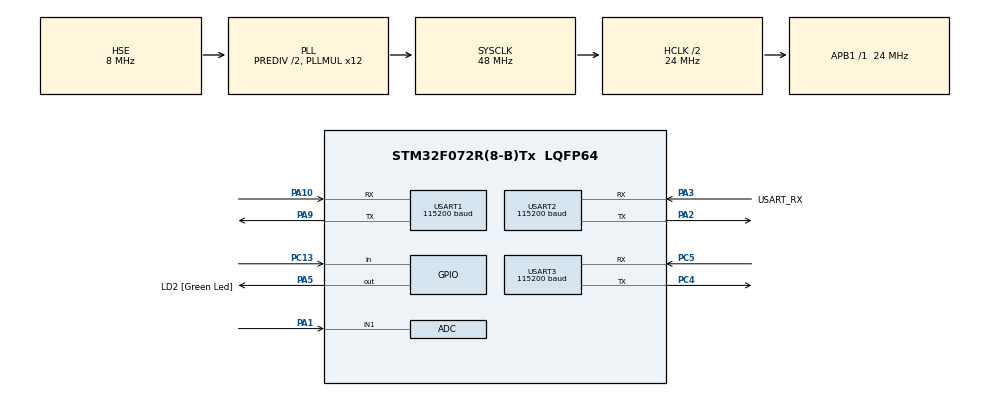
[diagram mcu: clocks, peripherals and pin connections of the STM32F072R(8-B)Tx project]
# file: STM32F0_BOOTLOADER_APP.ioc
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ADC.ContinuousConvMode=ENABLE
Mcu.Family=STM32F0
Mcu.Name=STM32F072R(8-B)Tx
Mcu.Package=LQFP64
PA1.Mode=IN1
PA1.Signal=ADC_IN1
PA10.Mode=Asynchronous
PA10.Signal=USART1_RX
PA13.GPIO_Label=TMS
PA13.Mode=Serial_Wire
PA13.Signal=SYS_SWDIO
PA14.GPIO_Label=TCK
PA14.Mode=Serial_Wire
PA14.Signal=SYS_SWCLK
PA2.Mode=Asynchronous
PA2.Signal=USART2_TX
PA3.GPIO_Label=USART_RX
PA3.GPIO_Mode=GPIO_MODE_AF_PP
PA3.GPIO_PuPd=GPIO_NOPULL
PA3.GPIO_Speed=GPIO_SPEED_FREQ_LOW
PA3.Mode=Asynchronous
PA3.Signal=USART2_RX
PA5.GPIO_Label=LD2 [Green Led]
PA5.GPIO_Mode=GPIO_MODE_OUTPUT_PP
PA5.GPIO_PuPd=GPIO_NOPULL
PA5.GPIO_Speed=GPIO_SPEED_FREQ_LOW
PA5.Signal=GPIO_Output
PA9.Mode=Asynchronous
PA9.Signal=USART1_TX
PC13.GPIO_PuPd=GPIO_PULLUP
PC13.Signal=GPIO_Input
PC14-OSC32_IN.Signal=RCC_OSC32_IN
PC15-OSC32_OUT.Signal=RCC_OSC32_OUT
PC4.Mode=Asynchronous
PC4.Signal=USART3_TX
PC5.Mode=Asynchronous
PC5.Signal=USART3_RX
PF0-OSC_IN.Mode=HSE-External-Oscillator
PF0-OSC_IN.Signal=RCC_OSC_IN
PF1-OSC_OUT.Mode=HSE-External-Oscillator
PF1-OSC_OUT.Signal=RCC_OSC_OUT
ProjectManager.HeapSize=0x200
ProjectManager.StackSize=0x400
ProjectManager.TargetToolchain=STM32CubeIDE
RCC.AHBCLKDivider=RCC_SYSCLK_DIV2
RCC.AHBFreq_Value=24000000
RCC.APB1Freq_Value=24000000
RCC.APB1TimFreq_Value=24000000
RCC.FLatency-AdvancedSettings=FLASH_LATENCY_1
RCC.HCLKFreq_Value=24000000
RCC.PLLDivider=RCC_PREDIV_DIV2
RCC.PLLMUL=RCC_PLL_MUL12
RCC.PLLSourceVirtual=RCC_PLLSOURCE_HSE
RCC.PREFETCH_ENABLE-AdvancedSettings=1
RCC.SYSCLKFreq_VALUE=48000000
RCC.SYSCLKSource=RCC_SYSCLKSOURCE_PLLCLK
USART1.BaudRate=115200
USART1.VirtualMode-Asynchronous=VM_ASYNC
USART2.BaudRate=115200
USART2.VirtualMode-Asynchronous=VM_ASYNC
USART3.BaudRate=115200
USART3.VirtualMode-Asynchronous=VM_ASYNC
VP_ADC_Vref_Input.Mode=IN-Vrefint
VP_CRC_VS_CRC.Mode=CRC_Activate
board=NUCLEO-F072RB

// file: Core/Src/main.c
/* USER CODE BEGIN Header */
/**
  ******************************************************************************
  * @file           : main.c
  * @brief          : Main program body
  ******************************************************************************
  * @attention
  *
  * Copyright (c) 2025 STMicroelectronics.
  * All rights reserved.
  *
  * This software is licensed under terms that can be found in the LICENSE file
  * in the root directory of this software component.
  * If no LICENSE file comes with this software, it is provided AS-IS.
  *
  ******************************************************************************
  */
/* USER CODE END Header */
#include "main.h"

/* USER CODE BEGIN Includes */
#include <stdarg.h> // for create printMessage function
#include <string.h>
#include <stdio.h>

#include "bootloader_command_code.h"
#include "bootloader_command_app.h"

/* USER CODE END Includes */

/* USER CODE BEGIN PTD */
 char myMessage[] = "Bootloader Try Project!\n";
 /*
  char *myMessage lı ifadelerde size kullanırken sizeof değil strlen kullan

  */
// #define APPLICATION_ADDRESS_1 (uint32_t)0x08008000
#define FLASH_SECTOR2_BASE_ADDRESS 0x08008000
#define BL_RX_DATA_LENGTH		   300
//#define TX_TIMEOUT 1000

/* USER CODE END PTD */

/* USER CODE BEGIN PD */

 uint8_t bootloader_rx_data[BL_RX_DATA_LENGTH];

/* USER CODE END PD */

ADC_HandleTypeDef hadc;

CRC_HandleTypeDef hcrc;

UART_HandleTypeDef huart1;
UART_HandleTypeDef huart2;
UART_HandleTypeDef huart3;

void SystemClock_Config(void);
static void MX_GPIO_Init(void);
static void MX_USART2_UART_Init(void);
static void MX_ADC_Init(void);
static void MX_USART1_UART_Init(void);
static void MX_CRC_Init(void);
static void MX_USART3_UART_Init(void);

/* USER CODE BEGIN 0 */

void intToStr(uint8_t *p_str, uint32_t intnum) {
//    uint32_t i, divider = 1000000000, pos = 0, status = 0;
//
//    for (i = 0; i < 10; i++) {
//        p_str[pos++] = (intnum / divider) + 48;
//
//        intnum = intnum % divider;
//        divider /= 10;
//        if ((p_str[pos - 1] == '0') & (status == 0)) {
//            pos = 0;
//        } else {
//            status++;
//        }
//    }
}

void serialPutString(uint8_t *p_string) {
//    uint16_t length = 0;
//
//    while (p_string[length] != '\0') {
//        length++;
//    }
//    HAL_UART_Transmit(&huart2, p_string, length, TX_TIMEOUT);
//}
//HAL_StatusTypeDef serialPutByte(uint8_t param) {
//    return HAL_UART_Transmit(&huart2, &param, 1, TX_TIMEOUT);
}

void goToApps(uint32_t applicationAddress) {
//    uint32_t JumpAddress;
//    typedef void (*pFunction)(void);
//    pFunction JumpToApplication;
//
//    if (((*(__IO uint32_t *)applicationAddress) & 0x2FFE0000) == 0x20000000) {
//        serialPutString("Going to User Application\r\n");
//        // JumpAddress = *(__IO uint32_t *)(APPLICATION_ADDRESS + 4);
//        JumpAddress = *(__IO uint32_t *)(applicationAddress + 4);
//        JumpToApplication = (pFunction)JumpAddress;
//        /* Initialize user application's Stack Pointer */
//        __set_MSP(*(__IO uint32_t *)applicationAddress);
//        JumpToApplication();
//    }
}

void printMessage(char *format,...)
{
	char commingMessage[100];
	va_list vaList;

	va_start(vaList,format);
	vsprintf(commingMessage,format,vaList);

	HAL_UART_Transmit(&huart2, (uint8_t*)commingMessage, strlen(commingMessage), HAL_MAX_DELAY);
	va_end(vaList);

// #include <stdarg.h> // remember!!!

}

void bootloader_uart_data_read(void)
{
//	uint8_t bl_rx_length; // gelen verinin uzunluğunu alacağız
//
//	while(1) // bootloader ıma ait tüm işleri yaptırıp ana koda atlayacağım
//	{
//		memset(bootloader_rx_data, 0, BL_RX_DATA_LENGTH);
//
//		HAL_UART_Receive(&huart1, bootloader_rx_data, 1, HAL_MAX_DELAY); // (length to follow ) gelecek komutun uzunluğunu verecek ve 0.indekse yazılacak
//
//		bl_rx_length = bootloader_rx_data[0]; // boyutu verdik
//
//		HAL_UART_Receive(&huart1, bootloader_rx_data+1, bl_rx_length, HAL_MAX_DELAY);
//		/*
//		 	 bootloader_rx_data+1 -> sebebi,0 indekste size var çünkü
//		 	 gelen komutların paketleri şöyleydi;
//		 	 	 length to follow
//		 	 	 command code
//		 	 	 crc
//		 	 	 1.indekse size dan sonraki verileri yazacağım yani ondan sonra command code gelir onu tutacağım
//		 */
//
//		switch(bootloader_rx_data[1])
//		{
//			case BL_GET_VER:
//				bootloader_get_ver_cmd(bootloader_rx_data);
//				break;
//			default:
//				break;
//
//		}
//
//	}

		uint8_t bl_rx_length = 0;

		while(1)
		{
			memset(bootloader_rx_data, 0, BL_RX_DATA_LENGTH);

			HAL_UART_Receive(&huart1, bootloader_rx_data, 1, HAL_MAX_DELAY);

			bl_rx_length = bootloader_rx_data[0];

			HAL_UART_Receive(&huart1, &bootloader_rx_data[1], bl_rx_length, HAL_MAX_DELAY);

			switch(bootloader_rx_data[1])
			{
				case BL_GET_VER:
					bootloader_get_ver_cmd(bootloader_rx_data);
				break;
				case BL_GET_HELP:
					bootloader_get_help_cmd(bootloader_rx_data);
					break;
				case BL_GET_CID:
					bootloader_get_cid_cmd(bootloader_rx_data);
					break;
				case BL_GET_RDP_STATUS:
					bootloader_get_rdp_cmd(bootloader_rx_data);
					break;
				case BL_GO_TO_ADDR:
					bootloader_go_to_addr_cmd(bootloader_rx_data);
					break;
				case BL_FLASH_ERASE:
					bootloader_flash_erase_cmd(bootloader_rx_data);
					break;
				case BL_MEM_WRITE:
					bootloader_mem_write_cmd(bootloader_rx_data);
					break;
				case BL_EN_RW_PROTECT:
					bootloader_enable_read_write_protect_cmd(bootloader_rx_data);
					break;
				case BL_READ_SECTOR_P_STATUS:
					bootloader_read_sector_protection_status_cmd(bootloader_rx_data);
					break;
				case BL_DIS_R_W_PROTECT:
					bootloader_disable_read_write_protect_cmd(bootloader_rx_data);
					break;
			}
		}

}
static volatile uint32_t resetValue;
void bootloader_jump_to_user_application(void)
{
	void (*bootloader_application_reset_handler)(void); // reset fonksiyonunun adresini tutacak
	printMessage("BL DEBUG MSG:Bootloader atlama fonksiyonu cagirildi\n");
	uint32_t mspValue = *(volatile uint32_t *) FLASH_SECTOR2_BASE_ADDRESS ; // msp değerini taban adresten çekip içindeki değeri aldık
	printMessage("BL DEBUG MSG:MSP Degeri %#x\n",mspValue);
	__set_MSP(mspValue) ; // msp nin yeni değerini set ettik

	 resetValue = *(volatile uint32_t *) (FLASH_SECTOR2_BASE_ADDRESS+4) ; // hatırla,msp den sonra reset handler in değeri geliyordu iki adres arasında 4 fark oluyordu
	printMessage("BL DEBUG MSG:Reset Degeri %#x\n",resetValue);

	bootloader_application_reset_handler = (void*) resetValue ; // yukarıdaki fonksiyona reset handlerin bulunduğu fonksiyonun adresini verdik,bu fonk onun reset h. ın adresini gösterir

	bootloader_application_reset_handler(); //reset handler çalışır
	printMessage("BL DEBUG MSG:oldu %#x\n",resetValue);

}
/* USER CODE END 0 */

int main(void)
{

  /* MCU Configuration--------------------------------------------------------*/

  /* Reset of all peripherals, Initializes the Flash interface and the Systick. */
  HAL_Init();

  /* Configure the system clock */
  SystemClock_Config();

  /* Initialize all configured peripherals */
  MX_GPIO_Init();
  MX_USART2_UART_Init();
  MX_ADC_Init();
  MX_USART1_UART_Init();
  MX_CRC_Init();
  MX_USART3_UART_Init();
  /* USER CODE BEGIN 2 */

 if(HAL_GPIO_ReadPin(GPIOC, GPIO_PIN_13) != GPIO_PIN_SET)
 {
	 printMessage("BL DEBUG MSG: Butona Basildi,Bootloader'a Gidiliyor\n");

	 bootloader_uart_data_read();
 }
 else
 {
	 printMessage("BL DEBUG MSG: Butona Basilmadi!\n");

	 bootloader_jump_to_user_application();

	// goToApps(APPLICATION_ADDRESS_1);  // going to User App 1
 }

  /* USER CODE END 2 */

  /* Infinite loop */
  while (1)
  {

    /* USER CODE BEGIN 3 */

//	  printMessage("Project %d\n!",1);
//	  HAL_Delay(500);

  }
  /* USER CODE END 3 */
}

void SystemClock_Config(void)
{
  RCC_OscInitTypeDef RCC_OscInitStruct = {0};
  RCC_ClkInitTypeDef RCC_ClkInitStruct = {0};
  RCC_PeriphCLKInitTypeDef PeriphClkInit = {0};

  /** Initializes the RCC Oscillators according to the specified parameters
  * in the RCC_OscInitTypeDef structure.
  */
  RCC_OscInitStruct.OscillatorType = RCC_OSCILLATORTYPE_HSI14|RCC_OSCILLATORTYPE_HSE;
  RCC_OscInitStruct.HSEState = RCC_HSE_ON;
  RCC_OscInitStruct.HSI14State = RCC_HSI14_ON;
  RCC_OscInitStruct.HSI14CalibrationValue = 16;
  RCC_OscInitStruct.PLL.PLLState = RCC_PLL_ON;
  RCC_OscInitStruct.PLL.PLLSource = RCC_PLLSOURCE_HSE;
  RCC_OscInitStruct.PLL.PLLMUL = RCC_PLL_MUL12;
  RCC_OscInitStruct.PLL.PREDIV = RCC_PREDIV_DIV2;
  if (HAL_RCC_OscConfig(&RCC_OscInitStruct) != HAL_OK)
  {
    Error_Handler();
  }

  /** Initializes the CPU, AHB and APB buses clocks
  */
  RCC_ClkInitStruct.ClockType = RCC_CLOCKTYPE_HCLK|RCC_CLOCKTYPE_SYSCLK
                              |RCC_CLOCKTYPE_PCLK1;
  RCC_ClkInitStruct.SYSCLKSource = RCC_SYSCLKSOURCE_PLLCLK;
  RCC_ClkInitStruct.AHBCLKDivider = RCC_SYSCLK_DIV2;
  RCC_ClkInitStruct.APB1CLKDivider = RCC_HCLK_DIV1;

  if (HAL_RCC_ClockConfig(&RCC_ClkInitStruct, FLASH_LATENCY_1) != HAL_OK)
  {
    Error_Handler();
  }
  PeriphClkInit.PeriphClockSelection = RCC_PERIPHCLK_USART1|RCC_PERIPHCLK_USART2;
  PeriphClkInit.Usart1ClockSelection = RCC_USART1CLKSOURCE_PCLK1;
  PeriphClkInit.Usart2ClockSelection = RCC_USART2CLKSOURCE_PCLK1;
  if (HAL_RCCEx_PeriphCLKConfig(&PeriphClkInit) != HAL_OK)
  {
    Error_Handler();
  }
}

static void MX_ADC_Init(void)
{

  ADC_ChannelConfTypeDef sConfig = {0};

  /** Configure the global features of the ADC (Clock, Resolution, Data Alignment and number of conversion)
  */
  hadc.Instance = ADC1;
  hadc.Init.ClockPrescaler = ADC_CLOCK_ASYNC_DIV1;
  hadc.Init.Resolution = ADC_RESOLUTION_12B;
  hadc.Init.DataAlign = ADC_DATAALIGN_RIGHT;
  hadc.Init.ScanConvMode = ADC_SCAN_DIRECTION_FORWARD;
  hadc.Init.EOCSelection = ADC_EOC_SINGLE_CONV;
  hadc.Init.LowPowerAutoWait = DISABLE;
  hadc.Init.LowPowerAutoPowerOff = DISABLE;
  hadc.Init.ContinuousConvMode = ENABLE;
  hadc.Init.DiscontinuousConvMode = DISABLE;
  hadc.Init.ExternalTrigConv = ADC_SOFTWARE_START;
  hadc.Init.ExternalTrigConvEdge = ADC_EXTERNALTRIGCONVEDGE_NONE;
  hadc.Init.DMAContinuousRequests = DISABLE;
  hadc.Init.Overrun = ADC_OVR_DATA_PRESERVED;
  if (HAL_ADC_Init(&hadc) != HAL_OK)
  {
    Error_Handler();
  }

  /** Configure for the selected ADC regular channel to be converted.
  */
  sConfig.Channel = ADC_CHANNEL_1;
  sConfig.Rank = ADC_RANK_CHANNEL_NUMBER;
  sConfig.SamplingTime = ADC_SAMPLETIME_1CYCLE_5;
  if (HAL_ADC_ConfigChannel(&hadc, &sConfig) != HAL_OK)
  {
    Error_Handler();
  }

  /** Configure for the selected ADC regular channel to be converted.
  */
  sConfig.Channel = ADC_CHANNEL_VREFINT;
  if (HAL_ADC_ConfigChannel(&hadc, &sConfig) != HAL_OK)
  {
    Error_Handler();
  }

}

static void MX_CRC_Init(void)
{

  hcrc.Instance = CRC;
  hcrc.Init.DefaultPolynomialUse = DEFAULT_POLYNOMIAL_ENABLE;
  hcrc.Init.DefaultInitValueUse = DEFAULT_INIT_VALUE_ENABLE;
  hcrc.Init.InputDataInversionMode = CRC_INPUTDATA_INVERSION_NONE;
  hcrc.Init.OutputDataInversionMode = CRC_OUTPUTDATA_INVERSION_DISABLE;
  hcrc.InputDataFormat = CRC_INPUTDATA_FORMAT_BYTES;
  if (HAL_CRC_Init(&hcrc) != HAL_OK)
  {
    Error_Handler();
  }

}

static void MX_USART1_UART_Init(void)
{

  huart1.Instance = USART1;
  huart1.Init.BaudRate = 115200;
  huart1.Init.WordLength = UART_WORDLENGTH_8B;
  huart1.Init.StopBits = UART_STOPBITS_1;
  huart1.Init.Parity = UART_PARITY_NONE;
  huart1.Init.Mode = UART_MODE_TX_RX;
  huart1.Init.HwFlowCtl = UART_HWCONTROL_NONE;
  huart1.Init.OverSampling = UART_OVERSAMPLING_16;
  huart1.Init.OneBitSampling = UART_ONE_BIT_SAMPLE_DISABLE;
  huart1.AdvancedInit.AdvFeatureInit = UART_ADVFEATURE_NO_INIT;
  if (HAL_UART_Init(&huart1) != HAL_OK)
  {
    Error_Handler();
  }

}

static void MX_USART2_UART_Init(void)
{

  huart2.Instance = USART2;
  huart2.Init.BaudRate = 115200;
  huart2.Init.WordLength = UART_WORDLENGTH_8B;
  huart2.Init.StopBits = UART_STOPBITS_1;
  huart2.Init.Parity = UART_PARITY_NONE;
  huart2.Init.Mode = UART_MODE_TX_RX;
  huart2.Init.HwFlowCtl = UART_HWCONTROL_NONE;
  huart2.Init.OverSampling = UART_OVERSAMPLING_16;
  huart2.Init.OneBitSampling = UART_ONE_BIT_SAMPLE_DISABLE;
  huart2.AdvancedInit.AdvFeatureInit = UART_ADVFEATURE_NO_INIT;
  if (HAL_UART_Init(&huart2) != HAL_OK)
  {
    Error_Handler();
  }

}

static void MX_USART3_UART_Init(void)
{

  huart3.Instance = USART3;
  huart3.Init.BaudRate = 115200;
  huart3.Init.WordLength = UART_WORDLENGTH_8B;
  huart3.Init.StopBits = UART_STOPBITS_1;
  huart3.Init.Parity = UART_PARITY_NONE;
  huart3.Init.Mode = UART_MODE_TX_RX;
  huart3.Init.HwFlowCtl = UART_HWCONTROL_NONE;
  huart3.Init.OverSampling = UART_OVERSAMPLING_16;
  huart3.Init.OneBitSampling = UART_ONE_BIT_SAMPLE_DISABLE;
  huart3.AdvancedInit.AdvFeatureInit = UART_ADVFEATURE_NO_INIT;
  if (HAL_UART_Init(&huart3) != HAL_OK)
  {
    Error_Handler();
  }

}

static void MX_GPIO_Init(void)
{
  GPIO_InitTypeDef GPIO_InitStruct = {0};

  /* GPIO Ports Clock Enable */
  __HAL_RCC_GPIOC_CLK_ENABLE();
  __HAL_RCC_GPIOF_CLK_ENABLE();
  __HAL_RCC_GPIOA_CLK_ENABLE();

  /*Configure GPIO pin Output Level */
  HAL_GPIO_WritePin(LD2_GPIO_Port, LD2_Pin, GPIO_PIN_RESET);

  /*Configure GPIO pin : PC13 */
  GPIO_InitStruct.Pin = GPIO_PIN_13;
  GPIO_InitStruct.Mode = GPIO_MODE_INPUT;
  GPIO_InitStruct.Pull = GPIO_PULLUP;
  HAL_GPIO_Init(GPIOC, &GPIO_InitStruct);

  /*Configure GPIO pin : LD2_Pin */
  GPIO_InitStruct.Pin = LD2_Pin;
  GPIO_InitStruct.Mode = GPIO_MODE_OUTPUT_PP;
  GPIO_InitStruct.Pull = GPIO_NOPULL;
  GPIO_InitStruct.Speed = GPIO_SPEED_FREQ_LOW;
  HAL_GPIO_Init(LD2_GPIO_Port, &GPIO_InitStruct);

}

void Error_Handler(void)
{
  __disable_irq();
  while (1)
  {
  }
}
